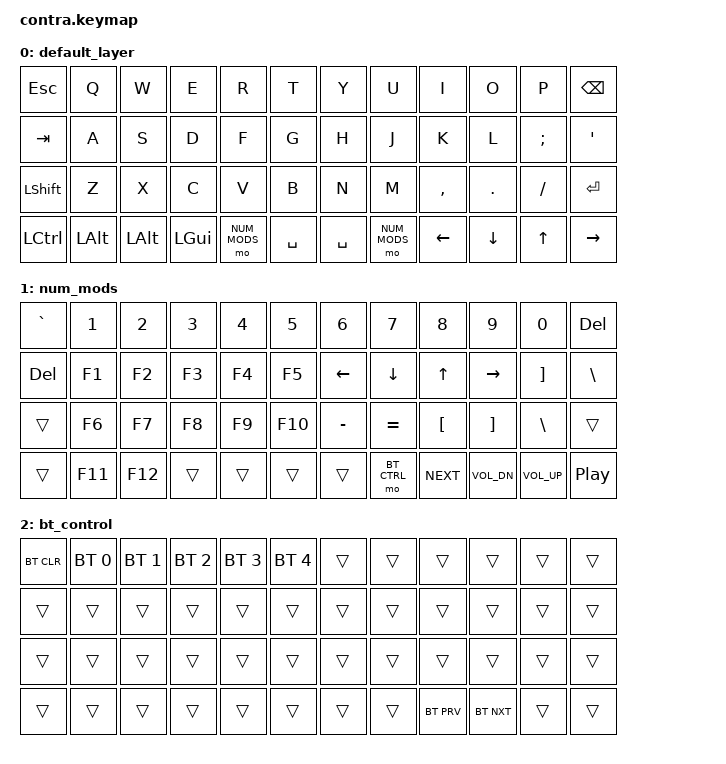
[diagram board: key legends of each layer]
/*
 * Copyright (c) 2021 The ZMK Contributors
 *
 * SPDX-License-Identifier: MIT
 */

#include <behaviors.dtsi>
#include <dt-bindings/zmk/keys.h>
#include <dt-bindings/zmk/bt.h>

#define DEFAULT  0
#define NUM_MODS 1
#define BT_CTRL  2

/ {
    keymap {
        compatible = "zmk,keymap";

        default_layer {
            bindings = <
    &kp ESC   &kp Q     &kp W    &kp E     &kp R       &kp T      &kp Y     &kp U        &kp I     &kp O     &kp P    &kp BSPC
    &kp TAB   &kp A     &kp S    &kp D     &kp F       &kp G      &kp H     &kp J        &kp K     &kp L     &kp SEMI &kp SQT
    &kp LSHFT &kp Z     &kp X    &kp C     &kp V       &kp B      &kp N     &kp M        &kp COMMA &kp DOT   &kp FSLH &kp ENTER
    &kp LCTRL &kp LALT  &kp LALT &kp LGUI  &mo NUM_MODS &kp SPACE  &kp SPACE    &mo NUM_MODS &kp LEFT  &kp DOWN &kp UP   &kp RIGHT
            >;
        };

        num_mods {
            bindings = <
    &kp GRAVE &kp N1    &kp N2   &kp N3   &kp N4      &kp N5     &kp N6    &kp N7      &kp N8    &kp N9    &kp N0   &kp DEL
    &kp DEL   &kp F1    &kp F2   &kp F3   &kp F4      &kp F5     &kp LEFT  &kp DOWN    &kp UP    &kp RIGHT &kp RBKT &kp BSLH
    &trans    &kp F6    &kp F7   &kp F8   &kp F9      &kp F10    &kp MINUS &kp EQUAL   &kp LBKT  &kp RBKT  &kp BSLH &trans
    &trans    &kp F11   &kp F12  &trans   &trans      &trans     &trans    &mo BT_CTRL      &kp C_NEXT  &kp C_VOL_DN &kp C_VOL_UP   &kp C_PP
            >;
        };

        bt_control {
            bindings = <
    &bt BT_CLR &bt BT_SEL 0 &bt BT_SEL 1 &bt BT_SEL 2 &bt BT_SEL 3 &bt BT_SEL 4 &trans    &trans    &trans     &trans     &trans   &trans
    &trans     &trans       &trans       &trans       &trans       &trans       &trans    &trans    &trans     &trans     &trans   &trans
    &trans     &trans       &trans       &trans       &trans       &trans       &trans    &trans    &trans     &trans     &trans   &trans
    &trans     &trans       &trans       &trans       &trans       &trans       &trans    &trans    &bt BT_PRV &bt BT_NXT &trans   &trans
            >;
        };
    };
};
